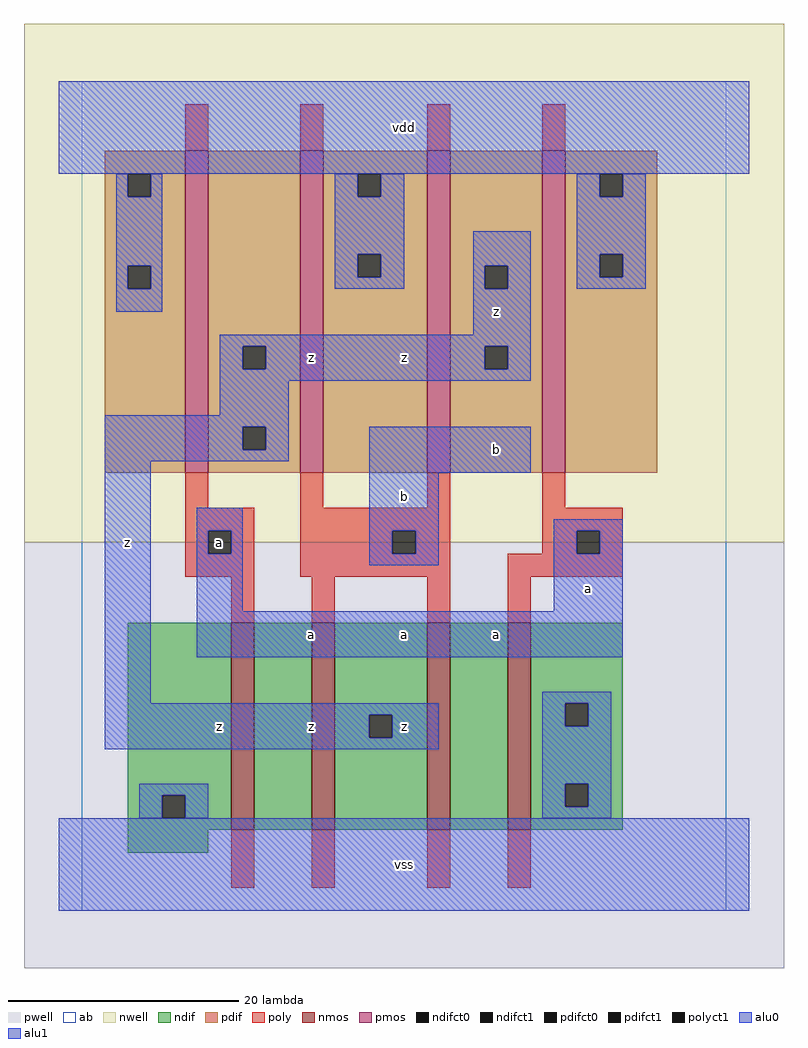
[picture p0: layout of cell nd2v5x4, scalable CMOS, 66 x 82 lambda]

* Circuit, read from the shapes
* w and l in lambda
.subckt nd2v5x4 a b vdd vss z
M1 n1 a vss VSUBS nfet w=18 l=2
M2 z b n1 VSUBS nfet w=18 l=2
M3 n2 b z VSUBS nfet w=18 l=2
M4 vss a n2 VSUBS nfet w=18 l=2
M5 z a vdd n3 pfet w=28 l=2 m=2
M6 vdd b z n3 pfet w=28 l=2 m=2
.ends

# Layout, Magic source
magic
tech scmos
<< ab >>
rect 0 0 56 72
<< nwell >>
rect -5 32 61 77
<< pwell >>
rect -5 -5 61 32
<< poly >>
rect 9 66 11 70
rect 19 66 21 70
rect 30 66 32 70
rect 40 66 42 70
rect 9 35 11 38
rect 19 35 21 38
rect 30 35 32 38
rect 9 33 15 35
rect 9 31 11 33
rect 13 31 15 33
rect 9 29 15 31
rect 19 33 32 35
rect 19 31 27 33
rect 29 31 32 33
rect 40 35 42 38
rect 40 33 47 35
rect 40 31 43 33
rect 45 31 47 33
rect 19 29 32 31
rect 13 25 15 29
rect 20 25 22 29
rect 30 25 32 29
rect 37 29 47 31
rect 37 25 39 29
rect 13 2 15 7
rect 20 2 22 7
rect 30 2 32 7
rect 37 2 39 7
<< ndif >>
rect 4 10 13 25
rect 4 8 7 10
rect 9 8 13 10
rect 4 7 13 8
rect 15 7 20 25
rect 22 17 30 25
rect 22 15 25 17
rect 27 15 30 17
rect 22 7 30 15
rect 32 7 37 25
rect 39 18 47 25
rect 39 16 42 18
rect 44 16 47 18
rect 39 11 47 16
rect 39 9 42 11
rect 44 9 47 11
rect 39 7 47 9
rect 4 5 11 7
<< pdif >>
rect 2 64 9 66
rect 2 62 4 64
rect 6 62 9 64
rect 2 56 9 62
rect 2 54 4 56
rect 6 54 9 56
rect 2 38 9 54
rect 11 49 19 66
rect 11 47 14 49
rect 16 47 19 49
rect 11 42 19 47
rect 11 40 14 42
rect 16 40 19 42
rect 11 38 19 40
rect 21 64 30 66
rect 21 62 24 64
rect 26 62 30 64
rect 21 57 30 62
rect 21 55 24 57
rect 26 55 30 57
rect 21 38 30 55
rect 32 56 40 66
rect 32 54 35 56
rect 37 54 40 56
rect 32 49 40 54
rect 32 47 35 49
rect 37 47 40 49
rect 32 38 40 47
rect 42 64 50 66
rect 42 62 45 64
rect 47 62 50 64
rect 42 57 50 62
rect 42 55 45 57
rect 47 55 50 57
rect 42 38 50 55
<< alu1 >>
rect -2 64 58 72
rect 34 56 39 59
rect 34 54 35 56
rect 37 54 39 56
rect 34 50 39 54
rect 12 49 39 50
rect 12 47 14 49
rect 16 47 35 49
rect 37 47 39 49
rect 12 46 39 47
rect 12 43 18 46
rect 2 42 18 43
rect 2 40 14 42
rect 16 40 18 42
rect 2 39 18 40
rect 2 18 6 39
rect 25 38 39 42
rect 10 33 14 35
rect 10 31 11 33
rect 13 31 14 33
rect 10 26 14 31
rect 25 33 31 38
rect 25 31 27 33
rect 29 31 31 33
rect 25 30 31 31
rect 41 33 47 34
rect 41 31 43 33
rect 45 31 47 33
rect 41 26 47 31
rect 10 22 47 26
rect 2 17 31 18
rect 2 15 25 17
rect 27 15 31 17
rect 2 14 31 15
rect -2 0 58 8
<< nmos >>
rect 13 7 15 25
rect 20 7 22 25
rect 30 7 32 25
rect 37 7 39 25
<< pmos >>
rect 9 38 11 66
rect 19 38 21 66
rect 30 38 32 66
rect 40 38 42 66
<< polyct1 >>
rect 11 31 13 33
rect 27 31 29 33
rect 43 31 45 33
<< ndifct0 >>
rect 7 8 9 10
rect 42 16 44 18
rect 42 9 44 11
<< ndifct1 >>
rect 25 15 27 17
<< pdifct0 >>
rect 4 62 6 64
rect 4 54 6 56
rect 24 62 26 64
rect 24 55 26 57
rect 45 62 47 64
rect 45 55 47 57
<< pdifct1 >>
rect 14 47 16 49
rect 14 40 16 42
rect 35 54 37 56
rect 35 47 37 49
<< alu0 >>
rect 3 62 4 64
rect 6 62 7 64
rect 3 56 7 62
rect 3 54 4 56
rect 6 54 7 56
rect 22 62 24 64
rect 26 62 28 64
rect 22 57 28 62
rect 43 62 45 64
rect 47 62 49 64
rect 22 55 24 57
rect 26 55 28 57
rect 22 54 28 55
rect 43 57 49 62
rect 43 55 45 57
rect 47 55 49 57
rect 43 54 49 55
rect 3 52 7 54
rect 40 18 46 19
rect 40 16 42 18
rect 44 16 46 18
rect 40 11 46 16
rect 5 10 11 11
rect 5 8 7 10
rect 9 8 11 10
rect 40 9 42 11
rect 44 9 46 11
rect 40 8 46 9
<< labels >>
rlabel alu1 4 32 4 32 6 z
rlabel alu1 20 16 20 16 6 z
rlabel alu1 12 16 12 16 6 z
rlabel polyct1 12 32 12 32 6 a
rlabel alu1 20 24 20 24 6 a
rlabel alu1 20 48 20 48 6 z
rlabel alu1 28 4 28 4 6 vss
rlabel alu1 28 16 28 16 6 z
rlabel alu1 28 24 28 24 6 a
rlabel alu1 36 24 36 24 6 a
rlabel alu1 36 40 36 40 6 b
rlabel alu1 28 36 28 36 6 b
rlabel alu1 28 48 28 48 6 z
rlabel alu1 36 52 36 52 6 z
rlabel alu1 28 68 28 68 6 vdd
rlabel alu1 44 28 44 28 6 a
<< end >>
